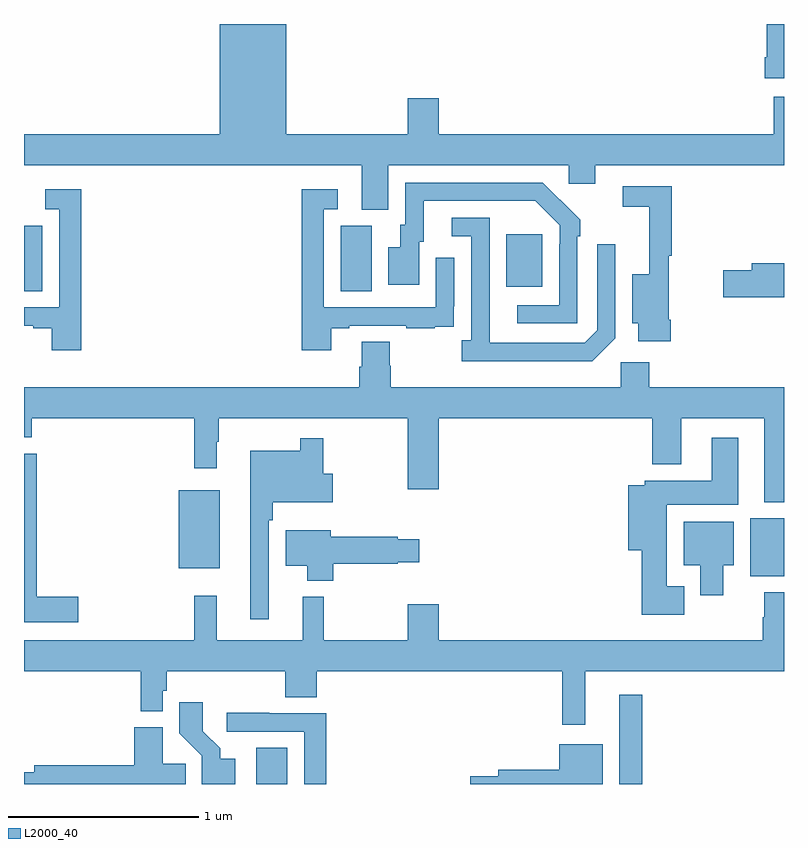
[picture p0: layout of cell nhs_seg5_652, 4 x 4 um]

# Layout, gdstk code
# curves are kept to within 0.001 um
import gdstk
lib = gdstk.Library(unit=1e-6, precision=1e-09)
def R(c, l, rs):  # rectangles x0, y0, x1, y1
    for r in rs: c.add(gdstk.rectangle(r[:2], r[2:], *l))
def P(c, l, *ps):  # polygons
    for p in ps: c.add(gdstk.Polygon(p, *l))
L2000_40 = (2000, 40)

nhs_seg5_652 = lib.new_cell('nhs_seg5_652')
R(nhs_seg5_652, L2000_40, [(152.222,890.799,152.386,890.99), (154.133,890.799,154.255,891.268), (154.823,891.893,155,892.198), (151.814,891.935,152.029,892.345), (151,893.392,151.096,893.736), (152.666,893.392,152.83,893.736), (153.539,893.417,153.727,893.692)])
P(nhs_seg5_652, L2000_40, [(152.917,894.056),(153.867,894.056),(153.867,893.958),(154.006,893.958),(154.006,894.056),(155,894.056),(155,894.415),(154.946,894.415),(154.946,894.22),(153.184,894.22),(153.184,894.409),(153.02,894.409),(153.02,894.22),(152.38,894.22),(152.38,894.799),(152.03,894.799),(152.03,894.22),(151,894.22),(151,894.056),(152.777,894.056),(152.777,893.821),(152.917,893.821)],
  [(155,894.799),(154.91,894.799),(154.91,894.625),(154.898,894.625),(154.898,894.513),(155,894.513)],
  [(153.912,893.681),(153.927,893.681),(153.927,893.769),(153.73,893.964),(153.006,893.964),(153.006,893.742),(152.981,893.742),(152.981,893.623),(152.918,893.623),(152.918,893.427),(153.079,893.427),(153.079,893.652),(153.103,893.652),(153.103,893.868),(153.691,893.868),(153.819,893.739),(153.819,893.639),(153.816,893.639),(153.816,893.319),(153.597,893.319),(153.597,893.223),(153.912,893.223)],
  [(154.403,893.242),(154.394,893.242),(154.394,893.578),(154.409,893.578),(154.409,893.946),(154.152,893.946),(154.152,893.838),(154.292,893.838),(154.292,893.482),(154.202,893.482),(154.202,893.225),(154.232,893.225),(154.232,893.13),(154.403,893.13)],
  [(151.301,893.929),(151.113,893.929),(151.113,893.823),(151.185,893.823),(151.185,893.307),(151,893.307),(151,893.211),(151.049,893.211),(151.049,893.199),(151.145,893.199),(151.145,893.082),(151.301,893.082)],
  [(152.617,893.199),(152.713,893.199),(152.713,893.211),(153.013,893.211),(153.013,893.199),(153.161,893.199),(153.161,893.205),(153.263,893.205),(153.263,893.314),(153.264,893.314),(153.264,893.569),(153.168,893.569),(153.168,893.307),(152.577,893.307),(152.577,893.823),(152.65,893.823),(152.65,893.929),(152.461,893.929),(152.461,893.082),(152.617,893.082)],
  [(154.113,893.145),(154.113,893.641),(154.017,893.641),(154.017,893.187),(153.951,893.121),(153.451,893.121),(153.45,893.778),(153.252,893.778),(153.252,893.682),(153.354,893.682),(153.354,893.134),(153.303,893.134),(153.303,893.024),(153.992,893.024)],
  [(155,893.54),(154.829,893.54),(154.829,893.504),(154.68,893.504),(154.68,893.362),(155,893.362)],
  [(155,892.888),(154.292,892.888),(154.292,893.02),(154.14,893.02),(154.14,892.888),(152.93,892.888),(152.93,893.001),(152.925,893.001),(152.925,893.126),(152.777,893.126),(152.777,892.994),(152.765,892.994),(152.765,892.888),(151,892.888),(151,892.625),(151.04,892.625),(151.04,892.724),(151.897,892.724),(151.897,892.461),(152.014,892.461),(152.014,892.601),(152.026,892.601),(152.026,892.724),(153.02,892.724),(153.02,892.35),(153.184,892.35),(153.184,892.724),(154.307,892.724),(154.307,892.481),(154.459,892.481),(154.459,892.724),(154.895,892.724),(154.895,892.283),(155,892.283)],
  [(154.474,891.841),(154.384,891.841),(154.384,892.268),(154.759,892.268),(154.759,892.621),(154.619,892.621),(154.619,892.396),(154.266,892.396),(154.266,892.372),(154.181,892.372),(154.181,892.028),(154.25,892.028),(154.25,891.689),(154.474,891.689)],
  [(152.289,892.187),(152.309,892.187),(152.309,892.283),(152.626,892.283),(152.626,892.431),(152.575,892.431),(152.575,892.618),(152.454,892.618),(152.454,892.552),(152.192,892.552),(152.192,891.666),(152.289,891.666)],
  [(151.285,891.785),(151.067,891.785),(151.067,892.538),(151,892.538),(151,891.65),(151.285,891.65)],
  [(154.681,891.95),(154.735,891.95),(154.735,892.18),(154.472,892.18),(154.472,891.95),(154.559,891.95),(154.559,891.792),(154.681,891.792)],
  [(152.627,891.958),(152.966,891.958),(152.966,891.965),(153.079,891.965),(153.079,892.087),(152.966,892.087),(152.966,892.1),(152.614,892.1),(152.614,892.135),(152.378,892.135),(152.378,891.947),(152.492,891.947),(152.492,891.869),(152.627,891.869)],
  [(153.955,891.392),(155,891.392),(155,891.808),(154.895,891.808),(154.895,891.677),(154.888,891.677),(154.888,891.556),(153.184,891.556),(153.184,891.745),(153.02,891.745),(153.02,891.556),(152.578,891.556),(152.578,891.784),(152.468,891.784),(152.468,891.556),(152.015,891.556),(152.015,891.79),(151.897,891.79),(151.897,891.556),(151,891.556),(151,891.392),(151.615,891.392),(151.615,891.182),(151.731,891.182),(151.731,891.291),(151.751,891.291),(151.751,891.392),(152.375,891.392),(152.375,891.256),(152.54,891.256),(152.54,891.392),(153.834,891.392),(153.834,891.111),(153.955,891.111)],
  [(152.113,890.932),(152.032,890.932),(152.032,890.987),(151.942,891.077),(151.942,891.229),(151.816,891.229),(151.816,891.066),(151.935,890.947),(151.935,890.799),(152.113,890.799)],
  [(152.591,891.171),(152.291,891.171),(152.291,891.174),(152.067,891.174),(152.067,891.075),(152.475,891.075),(152.475,890.799),(152.591,890.799)],
  [(151.85,890.906),(151.729,890.906),(151.729,891.097),(151.58,891.097),(151.58,890.897),(151.055,890.897),(151.055,890.861),(151,890.861),(151,890.799),(151.85,890.799)],
  [(154.045,891.007),(153.818,891.007),(153.818,890.875),(153.497,890.875),(153.497,890.84),(153.348,890.84),(153.348,890.799),(154.045,890.799)])

lib.write_gds('nhs_seg5_652.gds')
